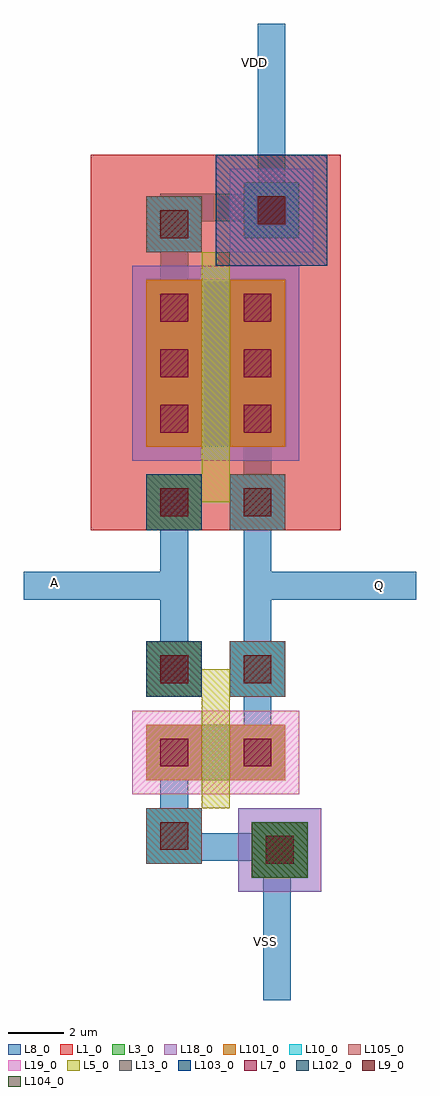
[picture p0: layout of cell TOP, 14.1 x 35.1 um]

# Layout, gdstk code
import gdstk
lib = gdstk.Library(unit=1e-6, precision=1e-07)
def R(c, l, rs):  # rectangles x0, y0, x1, y1
    for r in rs: c.add(gdstk.rectangle(r[:2], r[2:], *l))
L1_0 = (1, 0)
L3_0 = (3, 0)
L5_0 = (5, 0)
L7_0 = (7, 0)
L8_0 = (8, 0)
L9_0 = (9, 0)
L10_0 = (10, 0)
L13_0 = (13, 0)
L18_0 = (18, 0)
L19_0 = (19, 0)
L101_0 = (101, 0)
L102_0 = (102, 0)
L103_0 = (103, 0)
L104_0 = (104, 0)
L105_0 = (105, 0)

dcont = lib.new_cell('dcont')
R(dcont, L3_0, [(-1,-1,1,1)])
R(dcont, L7_0, [(-0.5,-0.5,0.5,0.5)])
R(dcont, L8_0, [(-1,-1,1,1)])
R(dcont, L13_0, [(-0.5,-0.5,0.5,0.5)])
R(dcont, L101_0, [(-1,-1,1,1)])

pcont = lib.new_cell('pcont')
R(pcont, L5_0, [(-1,-1,1,1)])
R(pcont, L7_0, [(-0.5,-0.5,0.5,0.5)])
R(pcont, L8_0, [(-1,-1,1,1)])
R(pcont, L13_0, [(-0.5,-0.5,0.5,0.5)])
R(pcont, L102_0, [(-1,-1,1,1)])

via = lib.new_cell('Via')
R(via, L8_0, [(-1,-1,1,1)])
R(via, L9_0, [(-0.5,-0.5,0.5,0.5)])
R(via, L10_0, [(-1,-1,1,1)])
R(via, L13_0, [(-0.5,-0.5,0.5,0.5)])
R(via, L105_0, [(-1,-1,1,1)])

dcont1 = lib.new_cell('dcont1')
R(dcont1, L3_0, [(-1,-1,1,1)])
R(dcont1, L7_0, [(-0.5,-0.5,0.5,0.5)])
R(dcont1, L8_0, [(-1,-1,1,1)])
R(dcont1, L13_0, [(-0.5,-0.5,0.5,0.5)])
R(dcont1, L101_0, [(-1,-1,1,1)])

nsubcont = lib.new_cell('nsubcont')
R(nsubcont, L1_0, [(-2,-2,2,2)])
R(nsubcont, L19_0, [(-1.5,-1.5,1.5,1.5)])
R(nsubcont, L103_0, [(-2,-2,2,2)])
nsubcont.add(gdstk.Reference(dcont1, (0,0)))

pch = lib.new_cell('Pch')
R(pch, L1_0, [(-2,0,7,13.5)])
R(pch, L3_0, [(0,3,5,9)])
R(pch, L18_0, [(-0.5,2.5,5.5,9.5)])
pch.add(gdstk.FlexPath([(1,3),(1,9)], 2, ends="flush", simple_path=True, layer=8, datatype=0))  # L8_0
pch.add(gdstk.FlexPath([(4,3),(4,9)], 2, ends="flush", simple_path=True, layer=8, datatype=0))  # L8_0
pch.add(gdstk.FlexPath([(1,8),(1,11)], 1, ends="flush", simple_path=True, layer=8, datatype=0))  # L8_0
pch.add(gdstk.FlexPath([(4,1),(4,4)], 1, ends="flush", simple_path=True, layer=8, datatype=0))  # L8_0
pch.add(gdstk.FlexPath([(2.5,3),(2.5,9)], 1, ends=(1, 1), simple_path=True, layer=5, datatype=0))  # L5_0
pch.add(gdstk.FlexPath([(1,1.5),(2.5,1.5),(2.5,2)], 1, ends="flush", simple_path=True, layer=5, datatype=0))  # L5_0
pch.add(gdstk.Reference(dcont, (1,4)))
pch.add(gdstk.Reference(dcont, (1,6)))
pch.add(gdstk.Reference(dcont, (1,8)))
pch.add(gdstk.Reference(dcont, (4,4)))
pch.add(gdstk.Reference(dcont, (4,6)))
pch.add(gdstk.Reference(dcont, (4,8)))
pch.add(gdstk.Reference(pcont, (1,1)))
pch.add(gdstk.Reference(via, (1,1)))
pch.add(gdstk.Reference(via, (1,11)))
pch.add(gdstk.Reference(via, (4,1)))
pch.add(gdstk.Reference(nsubcont, (4.5,11.5)))
pch.add(gdstk.Reference(via, (4.5,11.5)))

psubcont = lib.new_cell('psubcont')
R(psubcont, L18_0, [(-1.5,-1.5,1.5,1.5)])
R(psubcont, L104_0, [(-1,-1,1,1)])
psubcont.add(gdstk.Reference(dcont1, (0,0)))

nch = lib.new_cell('Nch')
R(nch, L3_0, [(0,3,5,5)])
R(nch, L19_0, [(-0.5,2.5,5.5,5.5)])
nch.add(gdstk.FlexPath([(1,3),(1,5)], 2, ends="flush", simple_path=True, layer=8, datatype=0))  # L8_0
nch.add(gdstk.FlexPath([(4,3),(4,5)], 2, ends="flush", simple_path=True, layer=8, datatype=0))  # L8_0
nch.add(gdstk.FlexPath([(1,1),(1,4)], 1, ends="flush", simple_path=True, layer=8, datatype=0))  # L8_0
nch.add(gdstk.FlexPath([(4,4),(4,7)], 1, ends="flush", simple_path=True, layer=8, datatype=0))  # L8_0
nch.add(gdstk.FlexPath([(2.5,3),(2.5,5)], 1, ends=(1, 1), simple_path=True, layer=5, datatype=0))  # L5_0
nch.add(gdstk.FlexPath([(1,6.5),(2.5,6.5),(2.5,6)], 1, ends="flush", simple_path=True, layer=5, datatype=0))  # L5_0
nch.add(gdstk.Reference(dcont, (1,4)))
nch.add(gdstk.Reference(dcont, (4,4)))
nch.add(gdstk.Reference(pcont, (1,7)))
nch.add(gdstk.Reference(via, (1,7)))
nch.add(gdstk.Reference(via, (1,1)))
nch.add(gdstk.Reference(via, (4,7)))
nch.add(gdstk.Reference(psubcont, (4.8,0.5)))
nch.add(gdstk.Reference(via, (4.8,0.5)))

top = lib.new_cell('TOP')
top.add(gdstk.FlexPath([(5.8,3.8),(5.8,-2.3),(5.8,-2.3)], 1, ends="flush", simple_path=True, layer=8, datatype=0))  # L8_0
top.add(gdstk.FlexPath([(2.8,3.6),(2.8,-2.4)], 1, ends="flush", simple_path=True, layer=8, datatype=0))  # L8_0
top.add(gdstk.FlexPath([(5.8,0.7),(11.5,0.7)], 1, ends="flush", simple_path=True, layer=8, datatype=0))  # L8_0
top.add(gdstk.FlexPath([(2.7,0.7),(-2.6,0.7)], 1, ends="flush", simple_path=True, layer=8, datatype=0))  # L8_0
top.add(gdstk.FlexPath([(6.5,-8.9),(6.5,-14.2)], 1, ends="flush", simple_path=True, layer=8, datatype=0))  # L8_0
top.add(gdstk.FlexPath([(6.3,14.3),(2.3,14.3)], 1, ends="flush", simple_path=True, layer=8, datatype=0))  # L8_0
top.add(gdstk.FlexPath([(6.3,13.8),(6.3,20.9)], 1, ends="flush", simple_path=True, layer=8, datatype=0))  # L8_0
top.add(gdstk.FlexPath([(2.7,-8.7),(7,-8.7)], 1, ends="flush", simple_path=True, layer=8, datatype=0))  # L8_0
top.add(gdstk.Reference(pch, (1.8,2.7)))
top.add(gdstk.Reference(nch, (1.8,-9.3)))
top.add(gdstk.Label('Q', (10.2,0.7), layer=8, texttype=0))
top.add(gdstk.Label('A', (-1.5,0.8), layer=8, texttype=0))
top.add(gdstk.Label('VDD', (5.7,19.5), layer=8, texttype=0))
top.add(gdstk.Label('VSS', (6.1,-12.1), layer=8, texttype=0))

lib.write_gds('TOP.gds')
